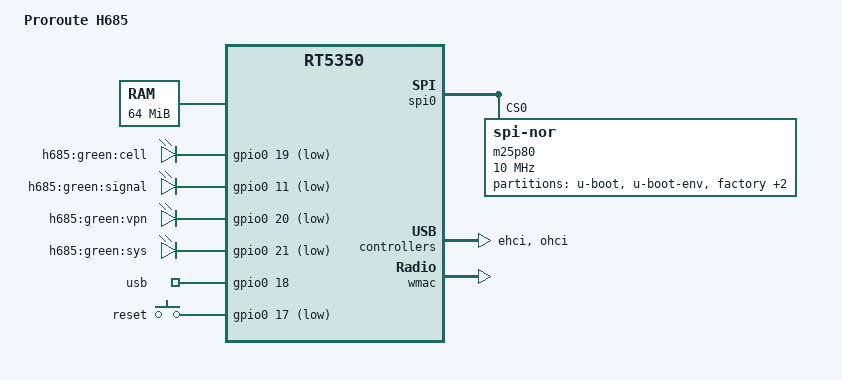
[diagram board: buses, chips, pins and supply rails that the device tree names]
/dts-v1/;

#include "rt5350.dtsi"

#include <dt-bindings/gpio/gpio.h>
#include <dt-bindings/input/input.h>

/ {
	compatible = "proroute,h685", "ralink,rt5350-soc";
	model = "Proroute H685";

	memory@0 {
		device_type = "memory";
		reg = <0x0 0x4000000>;
	};

	gpio-leds {
		compatible = "gpio-leds";

		cell {
			label = "h685:green:cell";
			gpios = <&gpio0 19 GPIO_ACTIVE_LOW>;
		};
		signal {
			label = "h685:green:signal";
			gpios = <&gpio0 11 GPIO_ACTIVE_LOW>;
		};
		vpn {
			label = "h685:green:vpn";
			gpios = <&gpio0 20 GPIO_ACTIVE_LOW>;
		};
		sys {
			label = "h685:green:sys";
			gpios = <&gpio0 21 GPIO_ACTIVE_LOW>;
		};
	};

	gpio_export {
		compatible = "gpio-export";
		#size-cells = <0>;

		usb {
			gpio-export,name = "usb";
			gpio-export,output = <1>;
			gpios = <&gpio0 18 GPIO_ACTIVE_HIGH>;
		};
	};

	gpio-keys-polled {
		compatible = "gpio-keys-polled";
		#address-cells = <1>;
		#size-cells = <0>;
		poll-interval = <20>;

		reset {
			label = "reset";
			gpios = <&gpio0 17 GPIO_ACTIVE_LOW>;
			linux,code = <KEY_RESTART>;
		};
	};
};

&spi0 {
	status = "okay";

	m25p80@0 {
		#address-cells = <1>;
		#size-cells = <1>;
		compatible = "jedec,spi-nor";
		reg = <0>;
		spi-max-frequency = <10000000>;

		partition@0 {
			label = "u-boot";
			reg = <0x0 0x30000>;
			read-only;
		};

		partition@30000 {
			label = "u-boot-env";
			reg = <0x30000 0x20000>;
			read-only;
		};

		factory: partition@50000 {
			label = "factory";
			reg = <0x50000 0x10000>;
			read-only;
		};

		partition@60000 {
			label = "user_fs";
			reg = <0x60000 0x1a0000>;
		};

		partition@200000 {
			label = "firmware";
			reg = <0x200000 0x600000>;
		};
	};
};

&ehci {
	status = "okay";
};

&ohci {
	status = "okay";
};

&ethernet {
	mtd-mac-address = <&factory 0x28>;
};

&esw {
	mediatek,portdisable = <0x27>;
	mediatek,led_polarity = <0x17>;
};

&wmac {
	ralink,mtd-eeprom = <&factory 0>;
	ralink,led-polarity = <1>;
};

&pinctrl {
	state_default: pinctrl0 {
		gpio {
			ralink,group = "i2c", "jtag", "uartf";
			ralink,function = "gpio";
		};
	};
};
